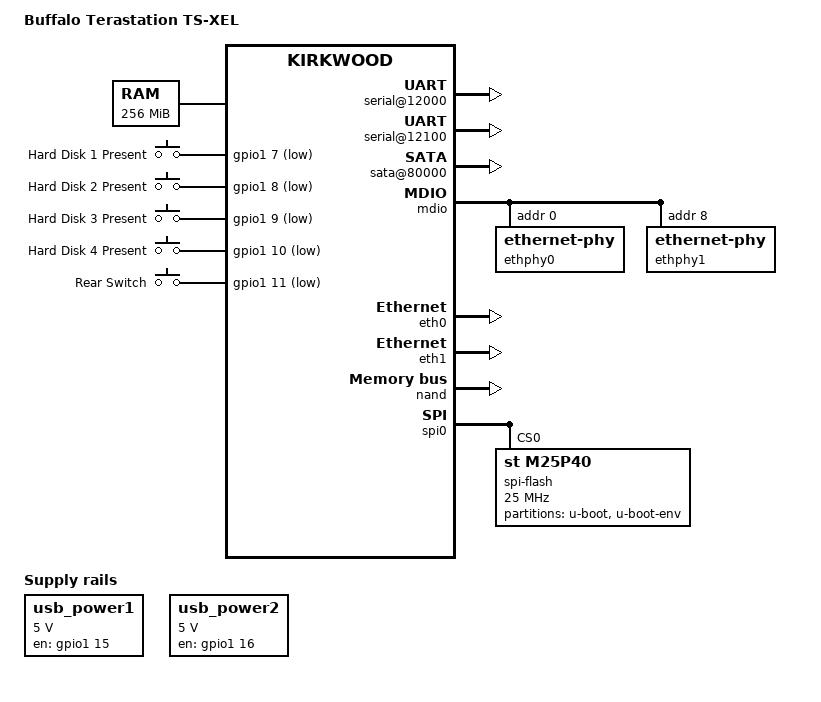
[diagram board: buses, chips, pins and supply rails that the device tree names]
/*
 */

/dts-v1/;
#include "kirkwood.dtsi"
#include "kirkwood-6281.dtsi"

/ {
	model = "Buffalo Terastation TS-XEL";
	compatible = "buffalo,tsxel", "marvell,kirkwood-88f6281", "marvell,kirkwood";

//	chosen
//	{
//		bootargs = "console=ttyS0,115200n8 earlyprintk";
//		stdout-path = &uart0;
//	};

	memory
	{
		device_type = "memory"; 
		reg = <0x00000000 0x10000000>; /* 256 MB */
	};
	
	ocp@f1000000
	{
		pinctrl: pin-controller@10000
		{
			hdd1_present: hdd1-present
			{
				marvell,pins = "mpp39";
				marvell,function = "gpio";
			};

			hdd2_present: hdd2-present
			{
				marvell,pins = "mpp40";
				marvell,function = "gpio";
			};

			hdd3_present: hdd3-present
			{
				marvell,pins = "mpp41";
				marvell,function = "gpio";
			};

			hdd4_present: hdd4-present
			{
				marvell,pins = "mpp42";
				marvell,function = "gpio";
			};

			rear_switch: rear-switch
			{
				marvell,pins = "mpp43";
				marvell,function = "gpio";
			};

			pmx_usb_vbus1: pmx-usb-vbus1
			{
				marvell,pins = "mpp47";
				marvell,function = "gpio";
			};

			pmx_usb_vbus2: pmx-usb-vbus2
			{
				marvell,pins = "mpp48";
				marvell,function = "gpio";
			};
		};
				
		serial@12000
		{
			status = "okay";
		};

		serial@12100
		{
			status = "okay";
		};

		sata@80000
		{
			nr-ports = <1>;
			status = "okay";
		};
	};

	restart_poweroff
	{
		compatible = "restart-poweroff";
	};

	regulators
	{
		compatible = "simple-bus";
		#address-cells = <1>;
		#size-cells = <0>;
		pinctrl-0 = <&pmx_usb_vbus1 &pmx_usb_vbus2>;
		pinctrl-names = "default";

		usb_power1: regulator@1
		{
			compatible = "regulator-fixed";
			reg = <1>;
			regulator-name = "USB Power";
			regulator-min-microvolt = <5000000>;
			regulator-max-microvolt = <5000000>;
			enable-active-high;
			regulator-always-on;
			regulator-boot-on;
			gpio = <&gpio1 15 GPIO_ACTIVE_HIGH>;
		};

		usb_power2: regulator@2
		{
			compatible = "regulator-fixed";
			reg = <2>;
			regulator-name = "USB Power";
			regulator-min-microvolt = <5000000>;
			regulator-max-microvolt = <5000000>;
			enable-active-high;
			regulator-always-on;
			regulator-boot-on;
			gpio = <&gpio1 16 GPIO_ACTIVE_HIGH>;
		};
	};

	gpio-keys
	{
		compatible = "gpio-keys";
		pinctrl-0 = <&hdd1_present &hdd2_present &hdd3_present &hdd4_present &rear_switch>;
		pinctrl-names = "default";

		hdd1-present
		{
			label = "Hard Disk 1 Present";
			linux,code = <KEY_PROG1>;
			gpios = <&gpio1 7 GPIO_ACTIVE_LOW>;
		};

		hdd2-present
		{
			label = "Hard Disk 2 Present";
			linux,code = <KEY_PROG2>;
			gpios = <&gpio1 8 GPIO_ACTIVE_LOW>;
		};

		hdd3-present
		{
			label = "Hard Disk 3 Present";
			linux,code = <KEY_PROG3>;
			gpios = <&gpio1 9 GPIO_ACTIVE_LOW>;
		};

		hdd4-present
		{
			label = "Hard Disk 4 Present";
			linux,code = <KEY_PROG4>;
			gpios = <&gpio1 10 GPIO_ACTIVE_LOW>;
		};

		rear-switch
		{
			label = "Rear Switch";
			linux,code = <KEY_ESC>;
			gpios = <&gpio1 11 GPIO_ACTIVE_LOW>;
		};
	};
};

&mdio 
{
	status = "okay";
	ethphy0: ethernet-phy@0 
	{
		device_type = "ethernet-phy";
		reg = <0>;
	};

	ethphy1: ethernet-phy@8
	{
		device_type = "ethernet-phy";
		reg = <8>;
	};
};

&eth0 
{
	status = "okay";
	ethernet0-port@0 
	{
		phy-handle = <&ethphy0>;
	};
};

&eth1
{
	status = "okay";
	ethernet1-port@0
	{
		phy-handle = <&ethphy1>;
	};
};

&nand
{
	status = "okay";

	partition@0
	{
		label = "boot";
		reg = <0x0000000 0x1000000>;
		read-only;
	};

	partition@1000000
	{
		label = "rootfs";
		reg = <0x1000000 0xFE800000>;
		read-only;
	};

	partition@FF800000
	{
		label = "reserve";
		reg = <0xFF800000 0x00800000>;
		read-only;
	};
};

&spi0
{
	status = "okay";

	spi-flash@0
	{
		#address-cells = <1>;
		#size-cells = <1>;
		compatible = "st,m25p40", "jedec,spi-nor";
		reg = <0>;
		spi-max-frequency = <25000000>;

		partition@00000
		{
			label = "u-boot";
			reg = <0x00000 0x70000>;
			read-only;
		};

		partition@70000
		{
			label = "u-boot-env";
			reg = <0x70000 0x10000>;
			read-only;
		};
	};
};
